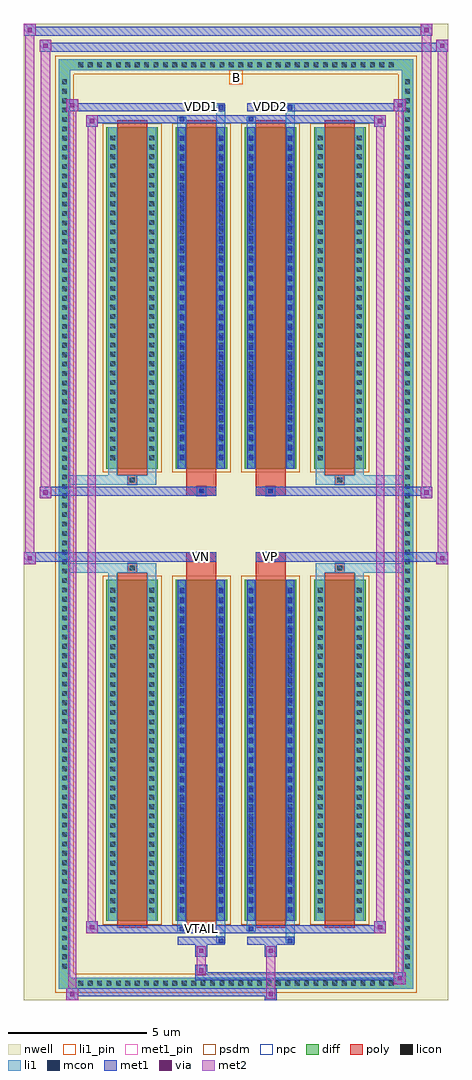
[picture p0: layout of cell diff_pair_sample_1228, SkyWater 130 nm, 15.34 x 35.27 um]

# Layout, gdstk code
import gdstk
lib = gdstk.Library(unit=1e-6, precision=5e-09)
def R(c, l, rs):  # rectangles x0, y0, x1, y1
    for r in rs: c.add(gdstk.rectangle(r[:2], r[2:], *l))
def A(c, l, x, y, w, h, nx, ny, dx, dy):  # array of equal rectangles
    R(c, l, [(x+i*dx, y+j*dy, x+i*dx+w, y+j*dy+h) for i in range(nx) for j in range(ny)])
def P(c, l, *ps):  # polygons
    for p in ps: c.add(gdstk.Polygon(p, *l))
nwell = (64, 20)
diff = (65, 20)
poly = (66, 20)
licon = (66, 44)
li1_pin = (67, 16)
li1 = (67, 20)
mcon = (67, 44)
met1_pin = (68, 16)
met1 = (68, 20)
via = (68, 44)
met2 = (69, 20)
psdm = (94, 20)
npc = (95, 20)

diff_pair_sample_1228 = lib.new_cell('diff_pair_sample_1228')
R(diff_pair_sample_1228, nwell, [(-7.67,-17.2,7.67,18.07), (-4.99,-15.39,-0.01,-0.825), (0.01,-15.39,4.99,-0.825), (-4.99,0.825,-0.01,15.39), (0.01,0.825,4.99,15.39)])
A(diff_pair_sample_1228, diff, -5.815, -16.8, 0.41, 0.41, 34, 2, 0.34, 33.19)
A(diff_pair_sample_1228, diff, -6.4, -16.185, 0.41, 0.41, 1, 95, 0, 0.34)
A(diff_pair_sample_1228, diff, 5.99, -16.185, 0.41, 0.41, 1, 95, 0, 0.34)
A(diff_pair_sample_1228, diff, -4.68, -14.345, 1.86, 12.34, 4, 2, 2.5, 16.35)
R(diff_pair_sample_1228, diff, [(-5.815,-16.8,5.815,-16.39), (-6.4,-16.185,-5.99,16.185), (5.99,-16.185,6.4,16.185), (-5.815,16.39,5.815,16.8)])
P(diff_pair_sample_1228, diff, [(6.4,16.8),(-6.4,16.8),(-6.4,-16.39),(-5.99,-16.39),(-5.99,16.39),(5.99,16.39),(5.99,-16.39),(-5.99,-16.39),(-6.4,-16.39),(-6.4,-16.8),(6.4,-16.8)])
A(diff_pair_sample_1228, poly, -4.29, -14.595, 1.08, 12.84, 4, 2, 2.5, 16.35)
R(diff_pair_sample_1228, poly, [(-3.915,-1.755,-3.585,-1.425), (-3.915,-1.755,-3.585,-1.425), (-1.79,-1.755,-0.71,-1.355), (0.71,-1.755,1.79,-1.355), (3.585,-1.755,3.915,-1.425), (3.585,-1.755,3.915,-1.425), (-1.79,-1.355,-0.71,-1.025), (-1.415,-1.355,-1.085,-1.025), (0.71,-1.355,1.79,-1.025), (1.085,-1.355,1.415,-1.025), (-1.79,1.025,-0.71,1.355), (-1.415,1.025,-1.085,1.355), (0.71,1.025,1.79,1.355), (1.085,1.025,1.415,1.355), (-1.79,1.355,-0.71,1.755), (0.71,1.355,1.79,1.755), (-3.915,1.425,-3.585,1.755), (-3.915,1.425,-3.585,1.755), (3.585,1.425,3.915,1.755), (3.585,1.425,3.915,1.755)])
A(diff_pair_sample_1228, licon, -5.695, -16.68, 0.17, 0.17, 34, 2, 0.34, 33.19)
A(diff_pair_sample_1228, licon, -6.28, -16.065, 0.17, 0.17, 1, 95, 0, 0.34)
A(diff_pair_sample_1228, licon, 6.11, -16.065, 0.17, 0.17, 1, 95, 0, 0.34)
A(diff_pair_sample_1228, licon, -4.54, -14.04, 0.17, 0.17, 1, 35, 0, 0.34)
A(diff_pair_sample_1228, licon, -3.13, -14.04, 0.17, 0.17, 1, 35, 0, 0.34)
A(diff_pair_sample_1228, licon, -2.04, -14.04, 0.17, 0.17, 1, 35, 0, 0.34)
A(diff_pair_sample_1228, licon, -0.63, -14.04, 0.17, 0.17, 1, 35, 0, 0.34)
A(diff_pair_sample_1228, licon, 0.46, -14.04, 0.17, 0.17, 1, 35, 0, 0.34)
A(diff_pair_sample_1228, licon, 1.87, -14.04, 0.17, 0.17, 1, 35, 0, 0.34)
A(diff_pair_sample_1228, licon, 2.96, -14.04, 0.17, 0.17, 1, 35, 0, 0.34)
A(diff_pair_sample_1228, licon, 4.37, -14.04, 0.17, 0.17, 1, 35, 0, 0.34)
A(diff_pair_sample_1228, licon, -4.54, 2.31, 0.17, 0.17, 1, 35, 0, 0.34)
A(diff_pair_sample_1228, licon, -3.13, 2.31, 0.17, 0.17, 1, 35, 0, 0.34)
A(diff_pair_sample_1228, licon, -2.04, 2.31, 0.17, 0.17, 1, 35, 0, 0.34)
A(diff_pair_sample_1228, licon, -0.63, 2.31, 0.17, 0.17, 1, 35, 0, 0.34)
A(diff_pair_sample_1228, licon, 0.46, 2.31, 0.17, 0.17, 1, 35, 0, 0.34)
A(diff_pair_sample_1228, licon, 1.87, 2.31, 0.17, 0.17, 1, 35, 0, 0.34)
A(diff_pair_sample_1228, licon, 2.96, 2.31, 0.17, 0.17, 1, 35, 0, 0.34)
A(diff_pair_sample_1228, licon, 4.37, 2.31, 0.17, 0.17, 1, 35, 0, 0.34)
R(diff_pair_sample_1228, licon, [(-3.835,-1.675,-3.665,-1.505), (3.665,-1.675,3.835,-1.505), (-1.335,-1.275,-1.165,-1.105), (1.165,-1.275,1.335,-1.105), (-1.335,1.105,-1.165,1.275), (1.165,1.105,1.335,1.275), (-3.835,1.505,-3.665,1.675), (3.665,1.505,3.835,1.675)])
R(diff_pair_sample_1228, li1_pin, [(-0.25,15.89,0.25,16.39)])
A(diff_pair_sample_1228, li1, -5.775, -16.76, 0.33, 0.33, 34, 2, 0.34, 33.19)
A(diff_pair_sample_1228, li1, -6.36, -16.145, 0.33, 0.33, 1, 95, 0, 0.34)
A(diff_pair_sample_1228, li1, 6.03, -16.145, 0.33, 0.33, 1, 95, 0, 0.34)
A(diff_pair_sample_1228, li1, -4.62, -14.12, 0.33, 0.33, 1, 35, 0, 0.34)
A(diff_pair_sample_1228, li1, -3.21, -14.12, 0.33, 0.33, 1, 35, 0, 0.34)
A(diff_pair_sample_1228, li1, -2.12, -14.12, 0.33, 0.33, 1, 35, 0, 0.34)
A(diff_pair_sample_1228, li1, -0.71, -14.12, 0.33, 0.33, 1, 35, 0, 0.34)
A(diff_pair_sample_1228, li1, 0.38, -14.12, 0.33, 0.33, 1, 35, 0, 0.34)
A(diff_pair_sample_1228, li1, 1.79, -14.12, 0.33, 0.33, 1, 35, 0, 0.34)
A(diff_pair_sample_1228, li1, 2.88, -14.12, 0.33, 0.33, 1, 35, 0, 0.34)
A(diff_pair_sample_1228, li1, 4.29, -14.12, 0.33, 0.33, 1, 35, 0, 0.34)
A(diff_pair_sample_1228, li1, -2.04, -14.02, 0.17, 0.17, 1, 33, 0, 0.36)
A(diff_pair_sample_1228, li1, -0.63, -14.02, 0.17, 0.17, 1, 33, 0, 0.36)
A(diff_pair_sample_1228, li1, 0.46, -14.02, 0.17, 0.17, 1, 33, 0, 0.36)
A(diff_pair_sample_1228, li1, 1.87, -14.02, 0.17, 0.17, 1, 33, 0, 0.36)
A(diff_pair_sample_1228, li1, -4.62, 2.23, 0.33, 0.33, 1, 35, 0, 0.34)
A(diff_pair_sample_1228, li1, -3.21, 2.23, 0.33, 0.33, 1, 35, 0, 0.34)
A(diff_pair_sample_1228, li1, -2.12, 2.23, 0.33, 0.33, 1, 35, 0, 0.34)
A(diff_pair_sample_1228, li1, -0.71, 2.23, 0.33, 0.33, 1, 35, 0, 0.34)
A(diff_pair_sample_1228, li1, 0.38, 2.23, 0.33, 0.33, 1, 35, 0, 0.34)
A(diff_pair_sample_1228, li1, 1.79, 2.23, 0.33, 0.33, 1, 35, 0, 0.34)
A(diff_pair_sample_1228, li1, 2.88, 2.23, 0.33, 0.33, 1, 35, 0, 0.34)
A(diff_pair_sample_1228, li1, 4.29, 2.23, 0.33, 0.33, 1, 35, 0, 0.34)
A(diff_pair_sample_1228, li1, -2.04, 2.33, 0.17, 0.17, 1, 33, 0, 0.36)
A(diff_pair_sample_1228, li1, -0.63, 2.33, 0.17, 0.17, 1, 33, 0, 0.36)
A(diff_pair_sample_1228, li1, 0.46, 2.33, 0.17, 0.17, 1, 33, 0, 0.36)
A(diff_pair_sample_1228, li1, 1.87, 2.33, 0.17, 0.17, 1, 33, 0, 0.36)
R(diff_pair_sample_1228, li1, [(-6.4,-16.8,-5.99,-16.39), (-6.4,-16.8,-5.99,-16.39), (-5.99,-16.8,5.99,-16.39), (5.99,-16.8,6.4,-16.39), (5.99,-16.8,6.4,-16.39), (-6.4,-16.39,-5.99,16.39), (5.99,-16.39,6.4,16.39), (-0.71,-15.15,-0.38,-14.345), (-0.63,-15.15,-0.46,-14.98), (1.79,-15.15,2.12,-14.345), (1.87,-15.15,2.04,-14.98), (-2.12,-14.72,-1.79,-14.345), (-2.04,-14.72,-1.87,-14.55), (0.38,-14.72,0.71,-14.345), (0.46,-14.72,0.63,-14.55), (-4.62,-14.345,-4.29,-2.005), (-3.21,-14.345,-2.88,-2.005), (-2.12,-14.345,-1.79,-2.005), (-0.71,-14.345,-0.38,-2.005), (0.38,-14.345,0.71,-2.005), (1.79,-14.345,2.12,-2.005), (2.88,-14.345,3.21,-2.005), (4.29,-14.345,4.62,-2.005), (-2.04,-14.02,-1.87,-2.33), (-0.63,-14.02,-0.46,-2.33), (0.46,-14.02,0.63,-2.33), (1.87,-14.02,2.04,-2.33), (-4.62,-2.005,-4.29,-1.425), (-3.21,-2.005,-2.88,-1.425), (2.88,-2.005,3.21,-1.425), (4.29,-2.005,4.62,-1.425), (-6.4,-1.755,-3.915,-1.425), (-4.62,-1.755,-3.915,-1.425), (-3.915,-1.755,-3.585,-1.425), (-3.585,-1.755,-2.88,-1.425), (2.88,-1.755,3.585,-1.425), (3.585,-1.755,3.915,-1.425), (3.585,-1.755,6.4,-1.425), (3.915,-1.755,4.62,-1.425), (-1.415,-1.355,-1.085,-1.025), (1.085,-1.355,1.415,-1.025), (-1.415,1.025,-1.085,1.355), (1.085,1.025,1.415,1.355), (-6.4,1.425,-3.915,1.755), (-4.62,1.425,-3.915,1.755), (-4.62,1.425,-4.29,2.005), (-3.915,1.425,-3.585,1.755), (-3.585,1.425,-2.88,1.755), (-3.21,1.425,-2.88,2.005), (2.88,1.425,3.585,1.755), (2.88,1.425,3.21,2.005), (3.585,1.425,3.915,1.755), (3.585,1.425,6.4,1.755), (3.915,1.425,4.62,1.755), (4.29,1.425,4.62,2.005), (-4.62,2.005,-4.29,14.345), (-3.21,2.005,-2.88,14.345), (-2.12,2.005,-1.79,14.345), (-0.71,2.005,-0.38,14.345), (0.38,2.005,0.71,14.345), (1.79,2.005,2.12,14.345), (2.88,2.005,3.21,14.345), (4.29,2.005,4.62,14.345), (-2.04,2.33,-1.87,14.02), (-0.63,2.33,-0.46,14.02), (0.46,2.33,0.63,14.02), (1.87,2.33,2.04,14.02), (-2.12,14.345,-1.79,14.72), (-0.71,14.345,-0.38,15.15), (0.38,14.345,0.71,14.72), (1.79,14.345,2.12,15.15), (-2.04,14.55,-1.87,14.72), (0.46,14.55,0.63,14.72), (-0.63,14.98,-0.46,15.15), (1.87,14.98,2.04,15.15), (-6.4,16.39,-5.99,16.8), (-6.4,16.39,-5.99,16.8), (-5.99,16.39,5.99,16.8), (5.99,16.39,6.4,16.8), (5.99,16.39,6.4,16.8)])
A(diff_pair_sample_1228, mcon, -2.04, -14.02, 0.17, 0.17, 1, 33, 0, 0.36)
A(diff_pair_sample_1228, mcon, -0.63, -14.02, 0.17, 0.17, 1, 33, 0, 0.36)
A(diff_pair_sample_1228, mcon, 0.46, -14.02, 0.17, 0.17, 1, 33, 0, 0.36)
A(diff_pair_sample_1228, mcon, 1.87, -14.02, 0.17, 0.17, 1, 33, 0, 0.36)
A(diff_pair_sample_1228, mcon, -2.04, 2.33, 0.17, 0.17, 1, 33, 0, 0.36)
A(diff_pair_sample_1228, mcon, -0.63, 2.33, 0.17, 0.17, 1, 33, 0, 0.36)
A(diff_pair_sample_1228, mcon, 0.46, 2.33, 0.17, 0.17, 1, 33, 0, 0.36)
A(diff_pair_sample_1228, mcon, 1.87, 2.33, 0.17, 0.17, 1, 33, 0, 0.36)
R(diff_pair_sample_1228, mcon, [(-0.63,-15.15,-0.46,-14.98), (1.87,-15.15,2.04,-14.98), (-2.04,-14.72,-1.87,-14.55), (0.46,-14.72,0.63,-14.55), (-1.335,-1.275,-1.165,-1.105), (1.165,-1.275,1.335,-1.105), (-1.335,1.105,-1.165,1.275), (1.165,1.105,1.335,1.275), (-2.04,14.55,-1.87,14.72), (0.46,14.55,0.63,14.72), (-0.63,14.98,-0.46,15.15), (1.87,14.98,2.04,15.15)])
R(diff_pair_sample_1228, met1_pin, [(-1.385,-14.76,-1.115,-14.49), (-1.385,-1.295,-1.115,-1.025), (1.115,-1.295,1.385,-1.025), (-1.385,14.94,-1.115,15.21), (1.115,14.94,1.385,15.21)])
A(diff_pair_sample_1228, met1, -2.1, -14.08, 0.29, 0.29, 1, 33, 0, 0.36)
A(diff_pair_sample_1228, met1, -0.69, -14.08, 0.29, 0.29, 1, 33, 0, 0.36)
A(diff_pair_sample_1228, met1, 0.4, -14.08, 0.29, 0.29, 1, 33, 0, 0.36)
A(diff_pair_sample_1228, met1, 1.81, -14.08, 0.29, 0.29, 1, 33, 0, 0.36)
A(diff_pair_sample_1228, met1, -2.1, 2.27, 0.29, 0.29, 1, 33, 0, 0.36)
A(diff_pair_sample_1228, met1, -0.69, 2.27, 0.29, 0.29, 1, 33, 0, 0.36)
A(diff_pair_sample_1228, met1, 0.4, 2.27, 0.29, 0.29, 1, 33, 0, 0.36)
A(diff_pair_sample_1228, met1, 1.81, 2.27, 0.29, 0.29, 1, 33, 0, 0.36)
R(diff_pair_sample_1228, met1, [(-6.13,-17.2,-5.7,-16.77), (1.035,-17.2,1.465,-16.77), (-6.13,-17.06,1.465,-16.77), (5.7,-16.63,6.13,-16.2), (-1.465,-16.49,6.13,-16.2), (-1.465,-16.35,-1.035,-15.92), (-1.465,-15.64,-1.035,-15.21), (1.035,-15.64,1.465,-15.21), (-2.1,-15.21,-0.4,-14.92), (-0.69,-15.21,-0.4,-14.92), (0.4,-15.21,2.1,-14.92), (1.81,-15.21,2.1,-14.92), (-5.42,-14.78,-4.99,-14.35), (-5.42,-14.78,-2.1,-14.49), (-2.1,-14.78,-1.81,-14.49), (-2.1,-14.78,-0.4,-14.49), (-0.4,-14.78,0.4,-14.49), (0.4,-14.78,0.69,-14.49), (0.4,-14.78,2.1,-14.49), (2.1,-14.78,5.42,-14.49), (4.99,-14.78,5.42,-14.35), (-2.1,-14.345,-1.81,-2.005), (-0.69,-14.345,-0.4,-2.005), (0.4,-14.345,0.69,-2.005), (1.81,-14.345,2.1,-2.005), (-7.67,-1.455,-7.24,-1.025), (7.24,-1.455,7.67,-1.025), (-7.67,-1.355,-0.71,-1.025), (-1.79,-1.355,-0.71,-1.025), (0.71,-1.355,1.79,-1.025), (0.71,-1.355,7.67,-1.025), (-1.395,-1.335,-1.105,-1.045), (1.105,-1.335,1.395,-1.045), (-7.1,0.925,-6.67,1.355), (6.67,0.925,7.1,1.355), (-7.1,1.025,-1.79,1.355), (-1.79,1.025,-0.71,1.355), (0.71,1.025,1.79,1.355), (1.79,1.025,7.1,1.355), (-1.395,1.045,-1.105,1.335), (1.105,1.045,1.395,1.335), (-2.1,2.005,-1.81,14.345), (-0.69,2.005,-0.4,14.345), (0.4,2.005,0.69,14.345), (1.81,2.005,2.1,14.345), (-5.42,14.35,-4.99,14.78), (4.99,14.35,5.42,14.78), (-5.42,14.49,-2.1,14.78), (-2.1,14.49,-1.81,14.78), (-2.1,14.49,-0.4,14.78), (-0.4,14.49,0.4,14.78), (0.4,14.49,0.69,14.78), (0.4,14.49,2.1,14.78), (2.1,14.49,5.42,14.78), (-6.13,14.92,-5.7,15.35), (-6.13,14.92,-2.1,15.21), (-2.1,14.92,-0.4,15.21), (-0.69,14.92,-0.4,15.21), (0.4,14.92,2.1,15.21), (1.81,14.92,2.1,15.21), (2.1,14.92,6.13,15.21), (5.7,14.92,6.13,15.35), (-7.1,17.07,-6.67,17.5), (-7.1,17.07,-4.99,17.4), (-4.99,17.07,4.99,17.4), (4.99,17.07,7.67,17.4), (7.24,17.07,7.67,17.5), (-7.67,17.64,-7.24,18.07), (-7.67,17.64,-4.99,17.97), (-4.99,17.64,4.99,17.97), (4.99,17.64,7.1,17.97), (6.67,17.64,7.1,18.07)])
R(diff_pair_sample_1228, via, [(-5.99,-17.06,-5.84,-16.91), (1.175,-17.06,1.325,-16.91), (5.84,-16.49,5.99,-16.34), (-1.325,-16.21,-1.175,-16.06), (-1.325,-15.5,-1.175,-15.35), (1.175,-15.5,1.325,-15.35), (-5.28,-14.64,-5.13,-14.49), (5.13,-14.64,5.28,-14.49), (-7.53,-1.315,-7.38,-1.165), (7.38,-1.315,7.53,-1.165), (-6.96,1.065,-6.81,1.215), (6.81,1.065,6.96,1.215), (-5.28,14.49,-5.13,14.64), (5.13,14.49,5.28,14.64), (-5.99,15.06,-5.84,15.21), (5.84,15.06,5.99,15.21), (-6.96,17.21,-6.81,17.36), (7.38,17.21,7.53,17.36), (-7.53,17.78,-7.38,17.93), (6.81,17.78,6.96,17.93)])
R(diff_pair_sample_1228, met2, [(-6.13,-17.2,-5.7,-16.77), (-6.06,-17.2,-5.77,15.35), (-5.77,-17.2,-5.7,-16.77), (-6.08,-17.15,-5.75,-16.82), (1.085,-17.15,1.415,-16.82), (1.085,-16.82,1.415,-15.59), (5.7,-16.63,6.13,-16.2), (5.77,-16.63,6.06,15.35), (6.06,-16.63,6.13,-16.2), (5.75,-16.58,6.08,-16.25), (-1.415,-16.3,-1.085,-15.97), (-1.415,-15.97,-1.085,-15.59), (-1.415,-15.59,-1.085,-15.26), (1.085,-15.59,1.415,-15.26), (-5.42,-14.78,-4.99,-14.35), (-5.35,-14.78,-5.06,14.78), (-5.06,-14.78,-4.99,-14.35), (4.99,-14.78,5.42,-14.35), (5.06,-14.78,5.35,14.78), (5.35,-14.78,5.42,-14.35), (-5.37,-14.73,-5.04,-14.4), (5.04,-14.73,5.37,-14.4), (-7.67,-1.455,-7.24,-1.025), (-7.62,-1.455,-7.29,18.07), (-7.29,-1.455,-7.24,-1.025), (7.24,-1.455,7.67,-1.025), (7.29,-1.455,7.62,17.5), (7.62,-1.455,7.67,-1.025), (-7.62,-1.405,-7.29,-1.075), (7.29,-1.405,7.62,-1.075), (-7.1,0.925,-6.67,1.355), (-7.05,0.925,-6.72,17.5), (-6.72,0.925,-6.67,1.355), (6.67,0.925,7.1,1.355), (6.72,0.925,7.05,18.07), (7.05,0.925,7.1,1.355), (-7.05,0.975,-6.72,1.305), (6.72,0.975,7.05,1.305), (-5.42,14.35,-4.99,14.78), (-5.06,14.35,-4.99,14.78), (4.99,14.35,5.42,14.78), (5.35,14.35,5.42,14.78), (-5.37,14.4,-5.04,14.73), (5.04,14.4,5.37,14.73), (-6.13,14.92,-5.7,15.35), (-5.77,14.92,-5.7,15.35), (5.7,14.92,6.13,15.35), (6.06,14.92,6.13,15.35), (-6.08,14.97,-5.75,15.3), (5.75,14.97,6.08,15.3), (-7.1,17.07,-6.67,17.5), (-6.72,17.07,-6.67,17.5), (7.24,17.07,7.67,17.5), (7.62,17.07,7.67,17.5), (-7.05,17.12,-6.72,17.45), (7.29,17.12,7.62,17.45), (-7.67,17.64,-7.24,18.07), (-7.29,17.64,-7.24,18.07), (6.67,17.64,7.1,18.07), (7.05,17.64,7.1,18.07), (-7.62,17.69,-7.29,18.02), (6.72,17.69,7.05,18.02)])
A(diff_pair_sample_1228, psdm, -4.81, -14.475, 2.12, 12.6, 4, 2, 2.5, 16.35)
P(diff_pair_sample_1228, psdm, [(6.53,16.93),(-6.53,16.93),(-6.53,-16.26),(-5.86,-16.26),(-5.86,16.26),(5.86,16.26),(5.86,-16.26),(-5.86,-16.26),(-6.53,-16.26),(-6.53,-16.93),(6.53,-16.93)])
R(diff_pair_sample_1228, npc, [(-3.935,-1.775,-3.565,-1.405), (3.565,-1.775,3.935,-1.405), (-1.435,-1.375,-1.065,-1.005), (1.065,-1.375,1.435,-1.005), (-1.435,1.005,-1.065,1.375), (1.065,1.005,1.435,1.375), (-3.935,1.405,-3.565,1.775), (3.565,1.405,3.935,1.775)])
diff_pair_sample_1228.add(gdstk.Label('VTAIL', (-1.25,-14.625), layer=68, texttype=5))
diff_pair_sample_1228.add(gdstk.Label('VN', (-1.25,-1.16), layer=68, texttype=5))
diff_pair_sample_1228.add(gdstk.Label('VP', (1.25,-1.16), layer=68, texttype=5))
diff_pair_sample_1228.add(gdstk.Label('B', (0,16.14), layer=67, texttype=5))
diff_pair_sample_1228.add(gdstk.Label('VDD2', (1.25,15.075), layer=68, texttype=5))
diff_pair_sample_1228.add(gdstk.Label('VDD1', (-1.25,15.075), layer=68, texttype=5))

lib.write_gds('diff_pair_sample_1228.gds')
